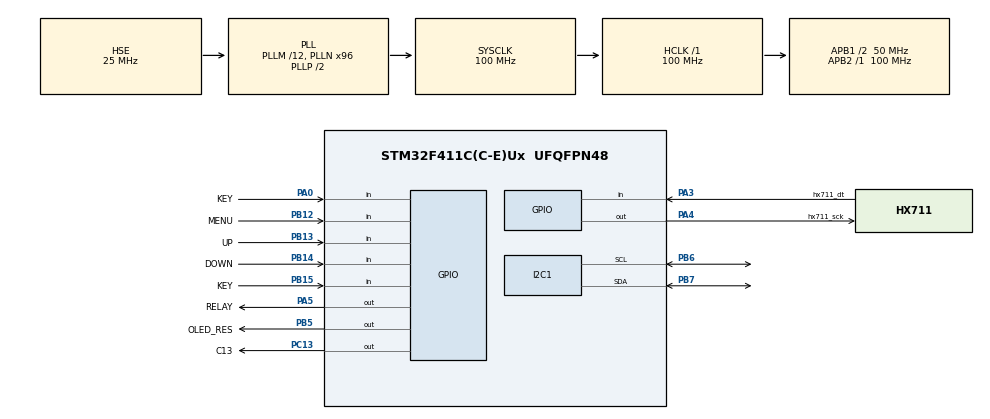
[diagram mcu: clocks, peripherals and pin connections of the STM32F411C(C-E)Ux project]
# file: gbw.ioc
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I2C1.I2C_Mode=I2C_Fast
Mcu.Family=STM32F4
Mcu.Name=STM32F411C(C-E)Ux
Mcu.Package=UFQFPN48
NVIC.PriorityGroup=NVIC_PRIORITYGROUP_4
PA0-WKUP.GPIO_Label=KEY
PA0-WKUP.Signal=GPIO_Input
PA3.GPIO_Label=hx711_dt
PA3.Signal=GPIO_Input
PA4.GPIO_Label=hx711_sck
PA4.Signal=GPIO_Output
PA5.GPIO_Label=RELAY
PA5.Signal=GPIO_Output
PB12.GPIO_Label=MENU
PB12.Signal=GPIO_Input
PB13.GPIO_Label=UP
PB13.Signal=GPIO_Input
PB14.GPIO_Label=DOWN
PB14.Signal=GPIO_Input
PB15.GPIO_Label=KEY
PB15.Signal=GPIO_Input
PB5.GPIO_Label=OLED_RES
PB5.Signal=GPIO_Output
PB6.Mode=I2C
PB6.Signal=I2C1_SCL
PB7.Mode=I2C
PB7.Signal=I2C1_SDA
PC13-ANTI_TAMP.GPIO_Label=C13
PC13-ANTI_TAMP.Signal=GPIO_Output
PC14-OSC32_IN.Mode=LSE-External-Oscillator
PC14-OSC32_IN.Signal=RCC_OSC32_IN
PC15-OSC32_OUT.Mode=LSE-External-Oscillator
PC15-OSC32_OUT.Signal=RCC_OSC32_OUT
PH0\ -\ OSC_IN.Mode=HSE-External-Oscillator
PH0\ -\ OSC_IN.Signal=RCC_OSC_IN
PH1\ -\ OSC_OUT.Mode=HSE-External-Oscillator
PH1\ -\ OSC_OUT.Signal=RCC_OSC_OUT
ProjectManager.HeapSize=0x200
ProjectManager.StackSize=0x400
ProjectManager.TargetToolchain=STM32CubeIDE
RCC.48MHZClocksFreq_Value=50000000
RCC.AHBFreq_Value=100000000
RCC.APB1CLKDivider=RCC_HCLK_DIV2
RCC.APB1Freq_Value=50000000
RCC.APB1TimFreq_Value=100000000
RCC.APB2Freq_Value=100000000
RCC.APB2TimFreq_Value=100000000
RCC.CortexFreq_Value=100000000
RCC.HCLKFreq_Value=100000000
RCC.HSE_VALUE=25000000
RCC.HSI_VALUE=16000000
RCC.PLLM=12
RCC.PLLN=96
RCC.PLLSourceVirtual=RCC_PLLSOURCE_HSE
RCC.SYSCLKFreq_VALUE=100000000
RCC.SYSCLKSource=RCC_SYSCLKSOURCE_PLLCLK
RCC.VCOOutputFreq_Value=200000000
board=custom

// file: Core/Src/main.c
/* USER CODE BEGIN Header */
/**
 ******************************************************************************
 * @file           : main.c
 * @brief          : Main program body
 ******************************************************************************
 * @attention
 *
 * Copyright (c) 2023 STMicroelectronics.
 * All rights reserved.
 *
 * This software is licensed under terms that can be found in the LICENSE file
 * in the root directory of this software component.
 * If no LICENSE file comes with this software, it is provided AS-IS.
 *
 ******************************************************************************
 */
/* USER CODE END Header */
#include "main.h"
#include "i2c.h"
#include "gpio.h"

/* USER CODE BEGIN Includes */
#include "OLED.h"
#include "hx711.h"
/* USER CODE END Includes */

/* USER CODE BEGIN PD */
#define RELAY_PORT GPIOA
#define RELAY_PIN GPIO_PIN_5

#define KEY_PORT GPIOB
#define KEY_PIN GPIO_PIN_15

#define MENU_PORT GPIOB
#define MENU_PIN GPIO_PIN_12

#define UP_PORT GPIOB
#define UP_PIN GPIO_PIN_13

#define DOWN_PORT GPIOB
#define DOWN_PIN GPIO_PIN_14

/* USER CODE END PD */

/* USER CODE BEGIN PV */
float grams = 0.00;
float target = 18.0;
char cur_weight[30];
int state = 0;
int grinding = 0;
/* USER CODE END PV */

void SystemClock_Config(void);

/* USER CODE BEGIN 0 */
float GetStableWeight(void) {
	float readings[5];

	// Take 5 readings
	for (int i = 0; i < 5; i++) {
		readings[i] = HX711_GetWeight();
		HAL_Delay(1); // Delay between readings
	}

	// Sort the array to find the median
	// Simple insertion sort
	for (int i = 1; i < 5; i++) {
		float key = readings[i];
		int j = i - 1;
		while (j >= 0 && readings[j] > key) {
			readings[j + 1] = readings[j];
			j = j - 1;
		}
		readings[j + 1] = key;
	}

	// Return the median value
	return readings[2]; // The middle value after sorting
}
/* USER CODE END 0 */

int main(void)
{

  /* MCU Configuration--------------------------------------------------------*/

  /* Reset of all peripherals, Initializes the Flash interface and the Systick. */
  HAL_Init();

  /* USER CODE BEGIN Init */
  state = 0;
  int lastState = -1;

  /* USER CODE END Init */

  /* Configure the system clock */
  SystemClock_Config();

  /* Initialize all configured peripherals */
  MX_GPIO_Init();
  MX_I2C1_Init();
  /* USER CODE BEGIN 2 */

	//init the scale
	HX711_Init();
	//init the oled
	OLED_Init();
	OLED_SetBrightness(128);
	OLED_ColorTurn(0);
	OLED_DisplayTurn(0);
//	OLED_ShowString(0,4,"Testing ",16,1);
	OLED_Refresh();
	HX711_Tare();
//	HAL_Delay(2000);

  /* USER CODE END 2 */

  /* Infinite loop */
  /* USER CODE BEGIN WHILE */
	while (1)
	{
		//add case switch here
		//if button is pressed, go to next state

		char cur_weight[30];

		if(HAL_GPIO_ReadPin(MENU_PORT, MENU_PIN) == GPIO_PIN_SET){
			// Debounce delay
			HAL_Delay(100);
			while(HAL_GPIO_ReadPin(MENU_PORT, MENU_PIN) == GPIO_PIN_SET); // Wait until button is released

			state = (state + 1) % 4;
//			HAL_Delay(500);
		}
//
		if (state != lastState)
		{
			OLED_Clear();
			HX711_Tare();
			lastState = state; // Update the last state
		}

		switch(state){
		case 0:
			snprintf(cur_weight, sizeof(cur_weight), "Start %.2f g", target);
			OLED_ShowString(0, 4, cur_weight, 12, 1);
			OLED_Refresh();
			HX711_Tare();
			grams = HX711_GetWeight();
			if(grams > 100){

				HAL_Delay(500);
				if(grams > 100){
					OLED_Clear();
					snprintf(cur_weight, sizeof(cur_weight), "%.2f g", grams);
					OLED_ShowString(0, 20, (char*)cur_weight, 12, 1);
					OLED_Refresh();
					grinding = 1;
					HX711_Tare();
					HAL_GPIO_WritePin(RELAY_PORT, RELAY_PIN, GPIO_PIN_SET);
				}

			}
			while(grinding){
				snprintf(cur_weight, sizeof(cur_weight), "%.2f g", grams);
				OLED_ShowString(0, 20, (char*)cur_weight, 12, 1);
				OLED_Refresh();
				grams = HX711_GetWeight();
				if(grams < 0){
					break;
				}
				if(grams >= 17.9){
					HAL_GPIO_WritePin(RELAY_PORT, RELAY_PIN, GPIO_PIN_RESET);
					snprintf(cur_weight, sizeof(cur_weight), "Done %.2f", grams);
					OLED_ShowString(0, 20, (char*)cur_weight, 12, 1);
					OLED_Refresh();
					HAL_Delay(200);
					HX711_Tare();
					grinding = 0;
					break;
				}else{
					HAL_GPIO_WritePin(RELAY_PORT, RELAY_PIN, GPIO_PIN_SET);
				}
			}
			HAL_GPIO_WritePin(RELAY_PORT, RELAY_PIN, GPIO_PIN_RESET);
//			HAL_Delay(100);
			break;
		case 1:
			snprintf(cur_weight, sizeof(cur_weight), "Calibrate   50g", target);
//			HX711_Calibrate();
			OLED_ShowString(0, 4, cur_weight, 12, 1);
			OLED_Refresh();
//			HAL_Delay(100);
			break;
		case 2:
			OLED_ShowString(0, 4, "Change Weight", 12, 1);
			snprintf(cur_weight, sizeof(cur_weight), "Target: %.2f", target);
			OLED_ShowString(0, 20, cur_weight, 12, 1);
			OLED_Refresh();
//			HAL_Delay(100);
			if(HAL_GPIO_ReadPin(UP_PORT, UP_PIN) == GPIO_PIN_SET){
						// Debounce delay
				HAL_Delay(100);
				while(HAL_GPIO_ReadPin(UP_PORT, UP_PIN) == GPIO_PIN_SET); // Wait until button is released

				target = target + 0.1;
			}else if(HAL_GPIO_ReadPin(DOWN_PORT, DOWN_PIN) == GPIO_PIN_SET){
				// Debounce delay
				HAL_Delay(100);
				while(HAL_GPIO_ReadPin(DOWN_PORT, DOWN_PIN) == GPIO_PIN_SET); // Wait until button is released

				target = target - 0.1;
			}
			break;
		case 3:
			snprintf(cur_weight, sizeof(cur_weight), "test 50g");
			OLED_ShowString(0, 4, (char*)cur_weight, 12, 1);
			float g = GetStableWeight();
			snprintf(cur_weight, sizeof(cur_weight), "%.2f g", g);
			OLED_ShowString(0, 20, (char*)cur_weight, 12, 1);
			OLED_Refresh();

		}
//
//		switch(state){
//			case 0: //grinding
//				if (state != lastState) // Only update text when first entering the state
//				{
//					snprintf(cur_weight, sizeof(cur_weight), "Start %d g", target);
//					OLED_ShowString(0, 4, cur_weight, 12, 1);
//					OLED_Refresh();
//				}
//
//				// Continuously measure the weight of the material
//				grams = GetStableWeight();
//
//				// Check if the object is placed and within the desired weight range
//				if (grams >= 100 && grams <= 600)
//				{
//					// Tare the scale to set the current weight as zero
//					HX711_Tare();
//
//					// Update OLED to show the system is ready to grind
//					OLED_Clear();
//					snprintf(cur_weight, sizeof(cur_weight), "Ready to grind towards %d g", target);
//					OLED_ShowString(0, 4, cur_weight, 16, 1);
//					OLED_Refresh();
//
//					// Start the grinding process by activating the relay/motor
//					HAL_GPIO_WritePin(RELAY_PORT, RELAY_PIN, GPIO_PIN_SET);
//
//					// Loop to continuously check the weight and grind
//					while (1)
//					{
//						// Measure the weight of the material
//						grams = GetStableWeight();
//
//						// Display the current weight dynamically
//						snprintf(cur_weight, sizeof(cur_weight), "Current: %d g", grams);
//						OLED_ShowString(0, 20, cur_weight, 16, 1);
//						OLED_Refresh();
//
//						// Check if the target weight is reached or exceeded
//						if (grams >= target)
//						{
//							// Stop the grinding process by deactivating the relay/motor
//							HAL_GPIO_WritePin(RELAY_PORT, RELAY_PIN, GPIO_PIN_RESET);
//
//							// Update the display to indicate completion
//							OLED_ShowString(0, 36, "Grinding Complete", 16, 1);
//							OLED_Refresh();
//
//							// Break from the while loop to stop grinding
//							break;
//						}
//
//						// Insert a small delay to prevent the loop from running too fast
//						HAL_Delay(100);
//					}
//
//					// After grinding, you might want to transition to a different state or wait for further input
//					// For now, we'll just stay in the same state and wait for another object
//					state = 0;
//				}
//				else
//				{
//					// If the weight is not in the range, display a waiting message
//					OLED_Clear();
//					snprintf(cur_weight, sizeof(cur_weight), "Place object (100-600g)");
//					OLED_ShowString(0, 4, cur_weight, 16, 1);
//					OLED_Refresh();
//				}
//
//				break;
//
//
//			case 1: // Calibration
//			    if (state != lastState) // Only update text when first entering the state
//			    {
//			        // Clear the display and show instructions
//			        OLED_Clear();
//			        OLED_ShowString(0, 0, "50g", 12, 1);
//			        OLED_Refresh();
//			    }
//
//			    // Continuously check if the KEY button is pressed to start calibration
//			    if(HAL_GPIO_ReadPin(KEY_PORT, KEY_PIN) == GPIO_PIN_SET)
//			    {
//			        // Debounce delay
//			        HAL_Delay(200);
//			        while(HAL_GPIO_ReadPin(KEY_PORT, KEY_PIN) == GPIO_PIN_SET); // Wait until button is released
//
//			        // Perform calibration using the known weight
//			        HX711_Calibrate(); // Assuming HX711_Calibrate takes the known weight as an argument
//
//			        // Indicate calibration success on the OLED
//			        OLED_ShowString(0, 20, "Done!", 12, 1);
//			        OLED_Refresh();
//
//			        // Add a delay to allow the user to read the message
//			        HAL_Delay(2000);
//
//			        // Optionally, move to the next state or back to the initial state
//			        state = 0; // or whatever the next appropriate state is
//			    }
//			    break;
//
//
//			case 2: // Change grind weight
//			    if (state != lastState) // Only update text when first entering the state
//			    {
//			        // Clear the display and show instructions
//			        OLED_Clear();
//			        OLED_ShowString(0, 4, "Adjust", 12, 1);
//			        OLED_Refresh();
//			    }
//
//			    // Continuously read the current target weight and display it
//			    snprintf(cur_weight, sizeof(cur_weight), "%d g", target);
//			    OLED_ShowString(0, 20, cur_weight, 12, 1);
//			    OLED_Refresh();
//
//			    // Check for UP button press to increase the target weight
//			    if(HAL_GPIO_ReadPin(UP_PORT, UP_PIN) == GPIO_PIN_SET)
//			    {
//			        target += 0.1; // Adjust the increment value as necessary
//			        HAL_Delay(200); // Debounce delay
//			    }
//
//			    // Check for DOWN button press to decrease the target weight
//			    if(HAL_GPIO_ReadPin(DOWN_PORT, DOWN_PIN) == GPIO_PIN_SET)
//			    {
//			        target -= 0.1; // Adjust the decrement value as necessary
//			        HAL_Delay(200); // Debounce delay
//			    }
//
//			    // Add a small delay to prevent the loop from running too fast
//			    HAL_Delay(100);
//			    break;
//
//		}
//

		//	  OLED_Clear();
		//	  HAL_Delay(200);
		//		if(HAL_GPIO_ReadPin(KEY_PORT, KEY_PIN) == GPIO_PIN_SET){
		////			grams = grams + 1; // Increase grams - make sure 'grams' is defined appropriately
		//			grams = HX711_GetWeight();
		//		}
		//running state, if more than 17.6, stop grinding and add bit by bit

		// grams = GetStableWeight();
		// if(grams > 17.6){
		// 	HAL_GPIO_WritePin(RELAY_PORT, RELAY_PIN, GPIO_PIN_RESET);
		// }else{
		// 	HAL_GPIO_WritePin(RELAY_PORT, RELAY_PIN, GPIO_PIN_SET);
		// }
		// while(!(grams > 18)){
		// 	HAL_GPIO_WritePin(RELAY_PORT, RELAY_PIN, GPIO_PIN_SET);
		// 	HAL_GPIO_WritePin(RELAY_PORT, RELAY_PIN, GPIO_PIN_RESET);
		// }

		// char cur_weight[30];
		// // Use snprintf for safety to avoid buffer overflow
		// //		OLED_Clear();
		// snprintf(cur_weight, sizeof(cur_weight), "%d g    ", grams);
		// //	  OLED_ShowString(0,4,"Grind Weight: ",16,1);
		// OLED_ShowString(0,20,cur_weight,12,1);
//		 OLED_Refresh();
//		 HAL_Delay(200);
    /* USER CODE END WHILE */

	}
}

void SystemClock_Config(void)
{
  RCC_OscInitTypeDef RCC_OscInitStruct = {0};
  RCC_ClkInitTypeDef RCC_ClkInitStruct = {0};

  /** Configure the main internal regulator output voltage
  */
  __HAL_RCC_PWR_CLK_ENABLE();
  __HAL_PWR_VOLTAGESCALING_CONFIG(PWR_REGULATOR_VOLTAGE_SCALE1);

  /** Initializes the RCC Oscillators according to the specified parameters
  * in the RCC_OscInitTypeDef structure.
  */
  RCC_OscInitStruct.OscillatorType = RCC_OSCILLATORTYPE_HSE;
  RCC_OscInitStruct.HSEState = RCC_HSE_ON;
  RCC_OscInitStruct.PLL.PLLState = RCC_PLL_ON;
  RCC_OscInitStruct.PLL.PLLSource = RCC_PLLSOURCE_HSE;
  RCC_OscInitStruct.PLL.PLLM = 12;
  RCC_OscInitStruct.PLL.PLLN = 96;
  RCC_OscInitStruct.PLL.PLLP = RCC_PLLP_DIV2;
  RCC_OscInitStruct.PLL.PLLQ = 4;
  if (HAL_RCC_OscConfig(&RCC_OscInitStruct) != HAL_OK)
  {
    Error_Handler();
  }

  /** Initializes the CPU, AHB and APB buses clocks
  */
  RCC_ClkInitStruct.ClockType = RCC_CLOCKTYPE_HCLK|RCC_CLOCKTYPE_SYSCLK
                              |RCC_CLOCKTYPE_PCLK1|RCC_CLOCKTYPE_PCLK2;
  RCC_ClkInitStruct.SYSCLKSource = RCC_SYSCLKSOURCE_PLLCLK;
  RCC_ClkInitStruct.AHBCLKDivider = RCC_SYSCLK_DIV1;
  RCC_ClkInitStruct.APB1CLKDivider = RCC_HCLK_DIV2;
  RCC_ClkInitStruct.APB2CLKDivider = RCC_HCLK_DIV1;

  if (HAL_RCC_ClockConfig(&RCC_ClkInitStruct, FLASH_LATENCY_3) != HAL_OK)
  {
    Error_Handler();
  }
}

void Error_Handler(void)
{
	__disable_irq();
	while (1)
	{
	}
}
